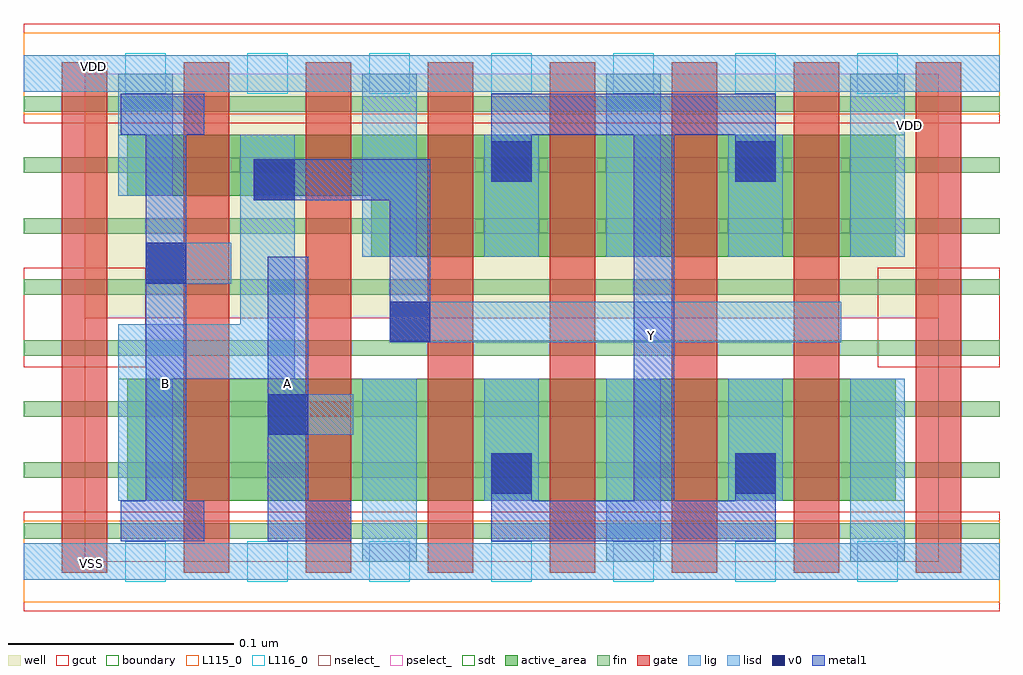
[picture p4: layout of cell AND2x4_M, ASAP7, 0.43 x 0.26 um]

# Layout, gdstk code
import gdstk
lib = gdstk.Library(unit=1e-6, precision=2.5e-10)
def R(c, l, rs):  # rectangles x0, y0, x1, y1
    for r in rs: c.add(gdstk.rectangle(r[:2], r[2:], *l))
def A(c, l, x, y, w, h, nx, ny, dx, dy):  # array of equal rectangles
    R(c, l, [(x+i*dx, y+j*dy, x+i*dx+w, y+j*dy+h) for i in range(nx) for j in range(ny)])
def P(c, l, *ps):  # polygons
    for p in ps: c.add(gdstk.Polygon(p, *l))
well = (1, 0)
fin = (2, 0)
gate = (7, 0)
gcut = (10, 0)
active_area = (11, 0)
nselect_ = (12, 0)
pselect_ = (13, 0)
lig = (16, 0)
lisd = (17, 0)
v0 = (18, 0)
metal1 = (19, 0)
sdt = (88, 0)
boundary = (100, 0)
L115_0 = (115, 0)
L116_0 = (116, 0)

and2x4_m = lib.new_cell('AND2x4_M')
R(and2x4_m, well, [(0,0.108,0.378,0.216)])
A(and2x4_m, fin, -0.027, 0.01, 0.432, 0.007, 1, 8, 0, 0.027)
A(and2x4_m, gate, -0.01, -0.005, 0.02, 0.226, 8, 1, 0.054, 0)
R(and2x4_m, gcut, [(-0.027,-0.022,0.405,0.022), (-0.027,0.086,0.027,0.13), (0.351,0.086,0.405,0.13), (-0.027,0.194,0.405,0.238)])
R(and2x4_m, active_area, [(0.019,0.027,0.359,0.081), (0.127,0.135,0.359,0.189), (0.019,0.162,0.127,0.189)])
R(and2x4_m, nselect_, [(0,0,0.378,0.108)])
R(and2x4_m, pselect_, [(0,0.108,0.378,0.216)])
R(and2x4_m, lig, [(-0.027,-0.008,0.405,0.008), (0.081,0.056,0.119,0.074), (0.135,0.097,0.335,0.115), (0.027,0.123,0.065,0.141), (-0.027,0.208,0.405,0.224)])
A(and2x4_m, lisd, 0.123, 0, 0.024, 0.081, 3, 2, 0.108, 0.135)
R(and2x4_m, lisd, [(0.177,0.027,0.201,0.081), (0.285,0.027,0.309,0.081), (0.177,0.135,0.201,0.189), (0.285,0.135,0.309,0.189), (0.015,0.162,0.039,0.216)])
P(and2x4_m, lisd, [(0.093,0.189),(0.069,0.189),(0.069,0.105),(0.015,0.105),(0.015,0.027),(0.039,0.027),(0.039,0.081),(0.093,0.081)])
R(and2x4_m, v0, [(0.18,0.03,0.198,0.048), (0.288,0.03,0.306,0.048), (0.081,0.056,0.099,0.074), (0.135,0.097,0.153,0.115), (0.027,0.123,0.045,0.141), (0.075,0.16,0.093,0.178), (0.18,0.168,0.198,0.186), (0.288,0.168,0.306,0.186)])
R(and2x4_m, metal1, [(0.016,0.009,0.053,0.027), (0.027,0.009,0.045,0.207), (0.081,0.009,0.099,0.135), (0.081,0.009,0.118,0.027), (0.18,0.009,0.198,0.048), (0.18,0.009,0.306,0.027), (0.243,0.009,0.261,0.207), (0.288,0.009,0.306,0.048), (0.135,0.097,0.153,0.178), (0.075,0.16,0.153,0.178), (0.18,0.168,0.198,0.207), (0.288,0.168,0.306,0.207), (0.016,0.189,0.053,0.207), (0.18,0.189,0.306,0.207)])
A(and2x4_m, sdt, 0.123, 0.027, 0.024, 0.054, 5, 2, 0.054, 0.108)
R(and2x4_m, sdt, [(0.015,0.027,0.039,0.081), (0.015,0.162,0.039,0.189), (0.069,0.162,0.093,0.189)])
R(and2x4_m, boundary, [(0,0,0.378,0.216)])
R(and2x4_m, L115_0, [(-0.027,-0.018,0.405,0.018), (-0.027,0.198,0.405,0.234)])
A(and2x4_m, L116_0, 0.018, -0.009, 0.018, 0.018, 7, 2, 0.054, 0.216)
and2x4_m.add(gdstk.Label('B', (0.036,0.079), layer=19, texttype=251))
and2x4_m.add(gdstk.Label('A', (0.09,0.079), layer=19, texttype=251))
and2x4_m.add(gdstk.Label('Y', (0.251,0.1), layer=19, texttype=251))
and2x4_m.add(gdstk.Label('VDD', (0.365,0.193), layer=1, texttype=251))
and2x4_m.add(gdstk.Label('VSS', (0.441,0.192), layer=3, texttype=251))
and2x4_m.add(gdstk.Label('VSS', (0.003,-0.001), layer=115, texttype=251))
and2x4_m.add(gdstk.Label('VDD', (0.004,0.219), layer=115, texttype=251))

lib.write_gds('AND2x4_M.gds')
